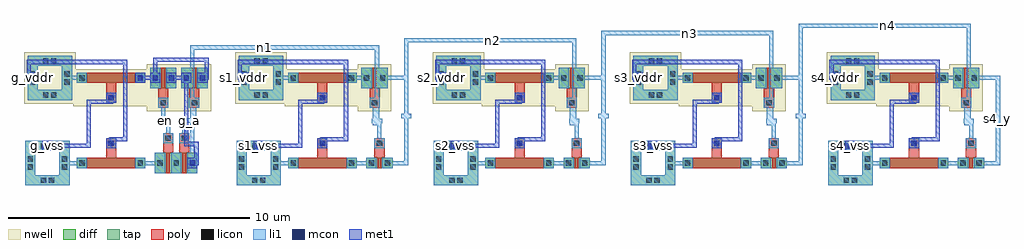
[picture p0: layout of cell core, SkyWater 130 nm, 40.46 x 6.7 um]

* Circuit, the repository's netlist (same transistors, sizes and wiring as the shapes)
* extracted by klt extract --deck sky130

* cell core
* pin a,g_a,mnab_y,mpa_y,mpb_y,n1,n2,n3,n4,s4_y,y
* pin en
* pin g_vddr,mnt_g,vddr
* pin g_vss,mph_g,s1_vss,s2_vss,s3_vss,s4_vss,vss
* pin mnt_g,s1_vddr,vddr
* pin mnt_g,s2_vddr,vddr
* pin mnt_g,s3_vddr,vddr
* pin mnt_g,s4_vddr,vddr
* pin mpa_py,mpb_py,mph_py,py
* pin ny
* pin ny
* pin ny
* pin ny
* pin ny
* pin py
* pin py
* pin py
* pin py
.SUBCKT core a|g_a|mnab_y|mpa_y|mpb_y|n1|n2|n3|n4|s4_y|y en g_vddr|mnt_g|vddr
+ g_vss|mph_g|s1_vss|s2_vss|s3_vss|s4_vss|vss mnt_g|s1_vddr|vddr
+ mnt_g|s2_vddr|vddr mnt_g|s3_vddr|vddr mnt_g|s4_vddr|vddr
+ mpa_py|mpb_py|mph_py|py ny ny$1 ny$2 ny$3 ny$4 py py$1 py$2 py$3
* device instance $1 r0 *1 1.42,0.21 nfet
M$1 ny g_vddr|mnt_g|vddr g_vss|mph_g|s1_vss|s2_vss|s3_vss|s4_vss|vss
+ g_vss|mph_g|s1_vss|s2_vss|s3_vss|s4_vss|vss nfet L=2U W=0.42U AS=0.1764P
+ AD=0.1764P PS=1.68U PD=1.68U
* device instance $2 r0 *1 10.18,0.21 nfet
M$2 ny$1 mnt_g|s1_vddr|vddr g_vss|mph_g|s1_vss|s2_vss|s3_vss|s4_vss|vss
+ g_vss|mph_g|s1_vss|s2_vss|s3_vss|s4_vss|vss nfet L=2U W=0.42U AS=0.1764P
+ AD=0.1764P PS=1.68U PD=1.68U
* device instance $3 r0 *1 12.545,0.21 nfet
M$3 a|g_a|mnab_y|mpa_y|mpb_y|n1|n2|n3|n4|s4_y|y
+ a|g_a|mnab_y|mpa_y|mpb_y|n1|n2|n3|n4|s4_y|y ny$1
+ g_vss|mph_g|s1_vss|s2_vss|s3_vss|s4_vss|vss nfet L=0.15U W=0.42U AS=0.1974P
+ AD=0.1974P PS=1.78U PD=1.78U
* device instance $4 r0 *1 18.355,0.21 nfet
M$4 ny$2 mnt_g|s2_vddr|vddr g_vss|mph_g|s1_vss|s2_vss|s3_vss|s4_vss|vss
+ g_vss|mph_g|s1_vss|s2_vss|s3_vss|s4_vss|vss nfet L=2U W=0.42U AS=0.1764P
+ AD=0.1764P PS=1.68U PD=1.68U
* device instance $5 r0 *1 20.72,0.21 nfet
M$5 a|g_a|mnab_y|mpa_y|mpb_y|n1|n2|n3|n4|s4_y|y
+ a|g_a|mnab_y|mpa_y|mpb_y|n1|n2|n3|n4|s4_y|y ny$2
+ g_vss|mph_g|s1_vss|s2_vss|s3_vss|s4_vss|vss nfet L=0.15U W=0.42U AS=0.1974P
+ AD=0.1974P PS=1.78U PD=1.78U
* device instance $6 r0 *1 26.53,0.21 nfet
M$6 ny$3 mnt_g|s3_vddr|vddr g_vss|mph_g|s1_vss|s2_vss|s3_vss|s4_vss|vss
+ g_vss|mph_g|s1_vss|s2_vss|s3_vss|s4_vss|vss nfet L=2U W=0.42U AS=0.1764P
+ AD=0.1764P PS=1.68U PD=1.68U
* device instance $7 r0 *1 28.895,0.21 nfet
M$7 a|g_a|mnab_y|mpa_y|mpb_y|n1|n2|n3|n4|s4_y|y
+ a|g_a|mnab_y|mpa_y|mpb_y|n1|n2|n3|n4|s4_y|y ny$3
+ g_vss|mph_g|s1_vss|s2_vss|s3_vss|s4_vss|vss nfet L=0.15U W=0.42U AS=0.1974P
+ AD=0.1974P PS=1.78U PD=1.78U
* device instance $8 r0 *1 34.705,0.21 nfet
M$8 ny$4 mnt_g|s4_vddr|vddr g_vss|mph_g|s1_vss|s2_vss|s3_vss|s4_vss|vss
+ g_vss|mph_g|s1_vss|s2_vss|s3_vss|s4_vss|vss nfet L=2U W=0.42U AS=0.1764P
+ AD=0.1764P PS=1.68U PD=1.68U
* device instance $9 r0 *1 37.07,0.21 nfet
M$9 a|g_a|mnab_y|mpa_y|mpb_y|n1|n2|n3|n4|s4_y|y
+ a|g_a|mnab_y|mpa_y|mpb_y|n1|n2|n3|n4|s4_y|y ny$4
+ g_vss|mph_g|s1_vss|s2_vss|s3_vss|s4_vss|vss nfet L=0.15U W=0.42U AS=0.1974P
+ AD=0.1974P PS=1.78U PD=1.78U
* device instance $10 r0 *1 3.785,0.21 nfet
M$10 \$4 en ny g_vss|mph_g|s1_vss|s2_vss|s3_vss|s4_vss|vss nfet L=0.15U W=0.84U
+ AS=0.3948P AD=0.2184P PS=2.62U PD=1.36U
* device instance $11 r0 *1 4.455,0.21 nfet
M$11 a|g_a|mnab_y|mpa_y|mpb_y|n1|n2|n3|n4|s4_y|y
+ a|g_a|mnab_y|mpa_y|mpb_y|n1|n2|n3|n4|s4_y|y \$4
+ g_vss|mph_g|s1_vss|s2_vss|s3_vss|s4_vss|vss nfet L=0.15U W=0.84U AS=0.2184P
+ AD=0.3948P PS=1.36U PD=2.62U
* device instance $12 r0 *1 1.42,3.74 pfet
M$12 mpa_py|mpb_py|mph_py|py g_vss|mph_g|s1_vss|s2_vss|s3_vss|s4_vss|vss
+ g_vddr|mnt_g|vddr g_vddr|mnt_g|vddr pfet L=2U W=0.42U AS=0.1764P AD=0.1764P
+ PS=1.68U PD=1.68U
* device instance $13 r0 *1 10.18,3.74 pfet
M$13 py g_vss|mph_g|s1_vss|s2_vss|s3_vss|s4_vss|vss mnt_g|s1_vddr|vddr
+ mnt_g|s1_vddr|vddr pfet L=2U W=0.42U AS=0.1764P AD=0.1764P PS=1.68U PD=1.68U
* device instance $14 r0 *1 18.355,3.74 pfet
M$14 py$1 g_vss|mph_g|s1_vss|s2_vss|s3_vss|s4_vss|vss mnt_g|s2_vddr|vddr
+ mnt_g|s2_vddr|vddr pfet L=2U W=0.42U AS=0.1764P AD=0.1764P PS=1.68U PD=1.68U
* device instance $15 r0 *1 26.53,3.74 pfet
M$15 py$2 g_vss|mph_g|s1_vss|s2_vss|s3_vss|s4_vss|vss mnt_g|s3_vddr|vddr
+ mnt_g|s3_vddr|vddr pfet L=2U W=0.42U AS=0.1764P AD=0.1764P PS=1.68U PD=1.68U
* device instance $16 r0 *1 34.705,3.74 pfet
M$16 py$3 g_vss|mph_g|s1_vss|s2_vss|s3_vss|s4_vss|vss mnt_g|s4_vddr|vddr
+ mnt_g|s4_vddr|vddr pfet L=2U W=0.42U AS=0.1764P AD=0.1764P PS=1.68U PD=1.68U
* device instance $17 r0 *1 3.585,3.74 pfet
M$17 a|g_a|mnab_y|mpa_y|mpb_y|n1|n2|n3|n4|s4_y|y en mpa_py|mpb_py|mph_py|py
+ g_vddr|mnt_g|vddr pfet L=0.15U W=0.84U AS=0.3948P AD=0.3948P PS=2.62U PD=2.62U
* device instance $18 r0 *1 4.875,3.74 pfet
M$18 mpa_py|mpb_py|mph_py|py a|g_a|mnab_y|mpa_y|mpb_y|n1|n2|n3|n4|s4_y|y
+ a|g_a|mnab_y|mpa_y|mpb_y|n1|n2|n3|n4|s4_y|y g_vddr|mnt_g|vddr pfet L=0.15U
+ W=0.84U AS=0.3948P AD=0.3948P PS=2.62U PD=2.62U
* device instance $19 r0 *1 12.345,3.74 pfet
M$19 a|g_a|mnab_y|mpa_y|mpb_y|n1|n2|n3|n4|s4_y|y
+ a|g_a|mnab_y|mpa_y|mpb_y|n1|n2|n3|n4|s4_y|y py mnt_g|s1_vddr|vddr pfet
+ L=0.15U W=0.84U AS=0.3948P AD=0.3948P PS=2.62U PD=2.62U
* device instance $20 r0 *1 20.52,3.74 pfet
M$20 a|g_a|mnab_y|mpa_y|mpb_y|n1|n2|n3|n4|s4_y|y
+ a|g_a|mnab_y|mpa_y|mpb_y|n1|n2|n3|n4|s4_y|y py$1 mnt_g|s2_vddr|vddr pfet
+ L=0.15U W=0.84U AS=0.3948P AD=0.3948P PS=2.62U PD=2.62U
* device instance $21 r0 *1 28.695,3.74 pfet
M$21 a|g_a|mnab_y|mpa_y|mpb_y|n1|n2|n3|n4|s4_y|y
+ a|g_a|mnab_y|mpa_y|mpb_y|n1|n2|n3|n4|s4_y|y py$2 mnt_g|s3_vddr|vddr pfet
+ L=0.15U W=0.84U AS=0.3948P AD=0.3948P PS=2.62U PD=2.62U
* device instance $22 r0 *1 36.87,3.74 pfet
M$22 a|g_a|mnab_y|mpa_y|mpb_y|n1|n2|n3|n4|s4_y|y
+ a|g_a|mnab_y|mpa_y|mpb_y|n1|n2|n3|n4|s4_y|y py$3 mnt_g|s4_vddr|vddr pfet
+ L=0.15U W=0.84U AS=0.3948P AD=0.3948P PS=2.62U PD=2.62U
.ENDS core

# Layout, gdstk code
from math import pi, radians
import gdstk
lib = gdstk.Library(unit=1e-6, precision=1e-09)
def R(c, l, rs):  # rectangles x0, y0, x1, y1
    for r in rs: c.add(gdstk.rectangle(r[:2], r[2:], *l))
def A(c, l, x, y, w, h, nx, ny, dx, dy):  # array of equal rectangles
    R(c, l, [(x+i*dx, y+j*dy, x+i*dx+w, y+j*dy+h) for i in range(nx) for j in range(ny)])
def P(c, l, *ps):  # polygons
    for p in ps: c.add(gdstk.Polygon(p, *l))
nwell = (64, 20)
diff = (65, 20)
tap = (65, 44)
poly = (66, 20)
licon = (66, 44)
li1 = (67, 20)
mcon = (67, 44)
met1 = (68, 20)

mos_array = lib.new_cell('mos_array')
R(mos_array, nwell, [(-0.15,-0.15,2.99,1.39)])
R(mos_array, diff, [(0,0,2.84,0.42)])
R(mos_array, poly, [(0.42,0,2.42,0.42), (1.21,0.42,1.63,1.24)])
R(mos_array, licon, [(0.1,0.1,0.32,0.32), (2.52,0.1,2.74,0.32), (1.31,0.92,1.53,1.14)])
R(mos_array, li1, [(0,0,0.42,0.42), (2.42,0,2.84,0.42), (1.21,0.82,1.63,1.24)])

mph__mph = lib.new_cell('mph__mph')
mph__mph.add(gdstk.Reference(mos_array, (0,0)))

mos_array_1 = lib.new_cell('mos_array$1')
R(mos_array_1, nwell, [(-0.15,-0.15,1.24,1.81)])
R(mos_array_1, diff, [(0,0,1.09,0.84)])
R(mos_array_1, poly, [(0.47,0,0.62,0.84), (0.335,0.84,0.755,1.66)])
R(mos_array_1, licon, [(0.1,0.31,0.32,0.53), (0.77,0.31,0.99,0.53), (0.435,1.34,0.655,1.56)])
R(mos_array_1, li1, [(0,0,0.42,0.84), (0.67,0,1.09,0.84), (0.335,1.24,0.755,1.66)])

mpa__mpa = lib.new_cell('mpa__mpa')
mpa__mpa.add(gdstk.Reference(mos_array_1, (0,0)))

mos_array_2 = lib.new_cell('mos_array$2')
R(mos_array_2, nwell, [(-0.15,-0.15,1.24,1.81)])
R(mos_array_2, diff, [(0,0,1.09,0.84)])
R(mos_array_2, poly, [(0.47,0,0.62,0.84), (0.335,0.84,0.755,1.66)])
R(mos_array_2, licon, [(0.1,0.31,0.32,0.53), (0.77,0.31,0.99,0.53), (0.435,1.34,0.655,1.56)])
R(mos_array_2, li1, [(0,0,0.42,0.84), (0.67,0,1.09,0.84), (0.335,1.24,0.755,1.66)])

mpb__mpb = lib.new_cell('mpb__mpb')
mpb__mpb.add(gdstk.Reference(mos_array_2, (0,0)))

mos_array_3 = lib.new_cell('mos_array$3')
R(mos_array_3, diff, [(0,0,2.84,0.42)])
R(mos_array_3, poly, [(0.42,0,2.42,0.42), (1.21,0.42,1.63,1.24)])
R(mos_array_3, licon, [(0.1,0.1,0.32,0.32), (2.52,0.1,2.74,0.32), (1.31,0.92,1.53,1.14)])
R(mos_array_3, li1, [(0,0,0.42,0.42), (2.42,0,2.84,0.42), (1.21,0.82,1.63,1.24)])

mnt__mnt = lib.new_cell('mnt__mnt')
mnt__mnt.add(gdstk.Reference(mos_array_3, (0,0)))

mos_array_4 = lib.new_cell('mos_array$4')
R(mos_array_4, diff, [(0,0,1.76,0.84)])
R(mos_array_4, poly, [(0.47,0,0.62,0.84), (1.14,0,1.29,0.84), (0.335,0.84,0.755,1.66), (1.005,0.84,1.425,1.66)])
A(mos_array_4, licon, 0.1, 0.31, 0.22, 0.22, 3, 1, 0.67, 0)
R(mos_array_4, licon, [(0.435,1.34,0.655,1.56), (1.105,1.34,1.325,1.56)])
A(mos_array_4, li1, 0, 0, 0.42, 0.84, 3, 1, 0.67, 0)
R(mos_array_4, li1, [(0.335,1.24,0.755,1.66), (1.005,1.24,1.425,1.66)])

mnab__mnab = lib.new_cell('mnab__mnab')
mnab__mnab.add(gdstk.Reference(mos_array_4, (0,0)))

guard_ring = lib.new_cell('guard_ring')
R(guard_ring, nwell, [(-0.15,-0.15,1.99,1.99)])
P(guard_ring, tap, [(0,0),(0,1.42),(0.42,1.42),(0.42,0.42),(1.42,0.42),(1.42,1.42),(0,1.42),(0,1.84),(1.84,1.84),(1.84,0)])
R(guard_ring, licon, [(0.643,0.1,0.863,0.32), (0.977,0.1,1.197,0.32), (0.1,0.643,0.32,0.863), (1.52,0.643,1.74,0.863), (0.1,0.977,0.32,1.197), (1.52,0.977,1.74,1.197), (0.643,1.52,0.863,1.74), (0.977,1.52,1.197,1.74)])
P(guard_ring, li1, [(0,0),(0,1.42),(0.42,1.42),(0.42,0.42),(1.42,0.42),(1.42,1.42),(0,1.42),(0,1.84),(1.84,1.84),(1.84,0)])

nwell_tap__nwell_tap = lib.new_cell('nwell_tap__nwell_tap')
nwell_tap__nwell_tap.add(gdstk.Reference(guard_ring, (0,0)))

guard_ring_1 = lib.new_cell('guard_ring$1')
P(guard_ring_1, tap, [(0,0),(0,1.42),(0.42,1.42),(0.42,0.42),(1.42,0.42),(1.42,1.42),(0,1.42),(0,1.84),(1.84,1.84),(1.84,0)])
R(guard_ring_1, licon, [(0.643,0.1,0.863,0.32), (0.977,0.1,1.197,0.32), (0.1,0.643,0.32,0.863), (1.52,0.643,1.74,0.863), (0.1,0.977,0.32,1.197), (1.52,0.977,1.74,1.197), (0.643,1.52,0.863,1.74), (0.977,1.52,1.197,1.74)])
P(guard_ring_1, li1, [(0,0),(0,1.42),(0.42,1.42),(0.42,0.42),(1.42,0.42),(1.42,1.42),(0,1.42),(0,1.84),(1.84,1.84),(1.84,0)])

psub_tap__psub_tap = lib.new_cell('psub_tap__psub_tap')
psub_tap__psub_tap.add(gdstk.Reference(guard_ring_1, (0,0)))

core__core = lib.new_cell('core__core')
R(core__core, li1, [(3.575,1.24,3.995,1.41), (4.245,1.24,4.665,1.41), (3.375,2.54,3.795,2.71), (4.665,2.54,5.085,2.71)])
core__core.add(gdstk.FlexPath([(0.21,3.74),(-0.41,3.74)], 0.17, ends="flush", simple_path=True, layer=67, datatype=20))  # li1
core__core.add(gdstk.FlexPath([(0.21,0.21),(-0.51,0.21)], 0.17, ends="flush", simple_path=True, layer=67, datatype=20))  # li1
core__core.add(gdstk.FlexPath([(2.63,0.21),(3.45,0.21)], 0.17, ends="flush", simple_path=True, layer=67, datatype=20))  # li1
core__core.add(gdstk.FlexPath([(3.585,2.71),(3.585,1.975),(3.785,1.975),(3.785,1.24)], 0.17, ends="flush", simple_path=True, layer=67, datatype=20))  # li1
core__core.add(gdstk.FlexPath([(4.875,2.71),(4.875,1.975),(4.455,1.975),(4.455,1.24)], 0.17, ends="flush", simple_path=True, layer=67, datatype=20))  # li1
core__core.add(gdstk.Reference(mph__mph, (0,3.95), x_reflection=True))
core__core.add(gdstk.Reference(mpa__mpa, (3.04,4.16), x_reflection=True))
core__core.add(gdstk.Reference(mpb__mpb, (5.42,4.16), rotation=pi))
core__core.add(gdstk.Reference(mnt__mnt, (0,0)))
core__core.add(gdstk.Reference(mnab__mnab, (3.24,-0.21)))
core__core.add(gdstk.Reference(nwell_tap__nwell_tap, (-2.04,2.82)))
core__core.add(gdstk.Reference(psub_tap__psub_tap, (-2.14,-0.71)))
core__core.add(gdstk.Label('vddr', (-0.1,3.74), layer=67, texttype=5))
core__core.add(gdstk.Label('vss', (-0.15,0.21), layer=67, texttype=5))
core__core.add(gdstk.Label('ny', (3.04,0.21), layer=67, texttype=5))
core__core.add(gdstk.Label('en', (3.685,1.975), layer=67, texttype=5))
core__core.add(gdstk.Label('a', (4.665,1.975), layer=67, texttype=5))
core__core.add(gdstk.Label('vddr', (-1.83,3.74), layer=67, texttype=5))
core__core.add(gdstk.Label('vss', (-1.22,0.92), layer=67, texttype=5))
core__core.add(gdstk.Label('mph_py', (2.63,3.74), layer=67, texttype=5))
core__core.add(gdstk.Label('mpa_py', (3.25,3.74), layer=67, texttype=5))
core__core.add(gdstk.Label('mpb_py', (5.21,3.74), layer=67, texttype=5))
core__core.add(gdstk.Label('mpa_y', (3.92,3.74), layer=67, texttype=5))
core__core.add(gdstk.Label('mpb_y', (4.54,3.74), layer=67, texttype=5))
core__core.add(gdstk.Label('mnab_y', (4.79,0.21), layer=67, texttype=5))
core__core.add(gdstk.Label('mph_g', (1.42,2.92), layer=67, texttype=5))
core__core.add(gdstk.Label('mnt_g', (1.42,1.03), layer=67, texttype=5))

g__ro_nand2 = lib.new_cell('g__ro_nand2')
R(g__ro_nand2, li1, [(4.58,0,5,0.42), (-1.43,0.71,-1.01,1.13), (1.21,0.82,1.63,1.24), (1.21,2.71,1.63,3.13), (-2.04,3.53,-1.62,3.95), (2.42,3.53,2.84,3.95), (3.04,3.53,3.46,3.95), (3.04,3.53,3.46,3.95), (3.71,3.53,4.13,3.95), (4.33,3.53,4.75,3.95), (4.33,3.53,4.75,3.95), (5,3.53,5.42,3.95)])
R(g__ro_nand2, mcon, [(4.68,0.1,4.9,0.32), (-1.33,0.81,-1.11,1.03), (1.31,0.92,1.53,1.14), (1.31,2.81,1.53,3.03), (-1.94,3.63,-1.72,3.85), (2.52,3.63,2.74,3.85), (3.14,3.63,3.36,3.85), (3.14,3.63,3.36,3.85), (3.81,3.63,4.03,3.85), (4.43,3.63,4.65,3.85), (4.43,3.63,4.65,3.85), (5.1,3.63,5.32,3.85)])
R(g__ro_nand2, met1, [(4.58,0,5,0.42), (-1.43,0.71,-1.01,1.13), (1.21,0.82,1.63,1.24), (1.21,2.71,1.63,3.13), (-2.04,3.53,-1.62,3.95), (2.42,3.53,2.84,3.95), (3.04,3.53,3.46,3.95), (3.04,3.53,3.46,3.95), (3.71,3.53,4.13,3.95), (4.33,3.53,4.75,3.95), (4.33,3.53,4.75,3.95), (5,3.53,5.42,3.95)])
g__ro_nand2.add(gdstk.FlexPath([(2.63,3.74),(3.25,3.74)], 0.17, ends="flush", simple_path=True, layer=68, datatype=20))  # met1
g__ro_nand2.add(gdstk.FlexPath([(3.25,3.74),(3.25,4.5),(5.38,4.5),(5.38,3.74),(5.21,3.74)], 0.17, ends="flush", simple_path=True, layer=68, datatype=20))  # met1
g__ro_nand2.add(gdstk.FlexPath([(3.92,3.74),(4.54,3.74)], 0.17, ends="flush", simple_path=True, layer=68, datatype=20))  # met1
g__ro_nand2.add(gdstk.FlexPath([(4.54,3.74),(4.54,1),(4.96,1),(4.96,0.21),(4.79,0.21)], 0.17, ends="flush", simple_path=True, layer=68, datatype=20))  # met1
g__ro_nand2.add(gdstk.FlexPath([(1.42,2.92),(1.42,2.75),(0.5,2.75),(0.5,0.92),(-1.22,0.92),(-1.22,0.92)], 0.17, ends="flush", simple_path=True, layer=68, datatype=20))  # met1
g__ro_nand2.add(gdstk.FlexPath([(1.42,1.03),(1.42,1.2),(2,1.2),(2,4.4),(-2,4.4),(-2,3.74),(-1.83,3.74)], 0.17, ends="flush", simple_path=True, layer=68, datatype=20))  # met1
g__ro_nand2.add(gdstk.Reference(core__core, (0,0)))
g__ro_nand2.add(gdstk.Label('py', (2.94,3.74), layer=68, texttype=5))
g__ro_nand2.add(gdstk.Label('py', (4.4,4.5), layer=68, texttype=5))
g__ro_nand2.add(gdstk.Label('y', (4.23,3.74), layer=68, texttype=5))
g__ro_nand2.add(gdstk.Label('y', (4.54,1.68), layer=68, texttype=5))
g__ro_nand2.add(gdstk.Label('vss', (0.5,1.52), layer=68, texttype=5))
g__ro_nand2.add(gdstk.Label('vddr', (1.56,4.4), layer=68, texttype=5))

mos_array_5 = lib.new_cell('mos_array$5')
R(mos_array_5, diff, [(0,0,2.84,0.42)])
R(mos_array_5, poly, [(0.42,0,2.42,0.42), (1.21,0.42,1.63,1.24)])
R(mos_array_5, licon, [(0.1,0.1,0.32,0.32), (2.52,0.1,2.74,0.32), (1.31,0.92,1.53,1.14)])
R(mos_array_5, li1, [(0,0,0.42,0.42), (2.42,0,2.84,0.42), (1.21,0.82,1.63,1.24)])

mnt__mnt_1 = lib.new_cell('mnt__mnt$1')
mnt__mnt_1.add(gdstk.Reference(mos_array_5, (0,0)))

guard_ring_2 = lib.new_cell('guard_ring$2')
P(guard_ring_2, tap, [(0,0),(0,1.42),(0.42,1.42),(0.42,0.42),(1.42,0.42),(1.42,1.42),(0,1.42),(0,1.84),(1.84,1.84),(1.84,0)])
R(guard_ring_2, licon, [(0.643,0.1,0.863,0.32), (0.977,0.1,1.197,0.32), (0.1,0.643,0.32,0.863), (1.52,0.643,1.74,0.863), (0.1,0.977,0.32,1.197), (1.52,0.977,1.74,1.197), (0.643,1.52,0.863,1.74), (0.977,1.52,1.197,1.74)])
P(guard_ring_2, li1, [(0,0),(0,1.42),(0.42,1.42),(0.42,0.42),(1.42,0.42),(1.42,1.42),(0,1.42),(0,1.84),(1.84,1.84),(1.84,0)])

psub_tap__psub_tap_1 = lib.new_cell('psub_tap__psub_tap$1')
psub_tap__psub_tap_1.add(gdstk.Reference(guard_ring_2, (0,0)))

mos_array_1_1 = lib.new_cell('mos_array$1$1')
R(mos_array_1_1, diff, [(0,0,1.09,0.42)])
R(mos_array_1_1, poly, [(0.47,0,0.62,0.42), (0.335,0.42,0.755,1.24)])
R(mos_array_1_1, licon, [(0.1,0.1,0.32,0.32), (0.77,0.1,0.99,0.32), (0.435,0.92,0.655,1.14)])
R(mos_array_1_1, li1, [(0,0,0.42,0.42), (0.67,0,1.09,0.42), (0.335,0.82,0.755,1.24)])

mn__mn = lib.new_cell('mn__mn')
mn__mn.add(gdstk.Reference(mos_array_1_1, (0,0)))

mos_array_2_1 = lib.new_cell('mos_array$2$1')
R(mos_array_2_1, nwell, [(-0.15,-0.15,2.99,1.39)])
R(mos_array_2_1, diff, [(0,0,2.84,0.42)])
R(mos_array_2_1, poly, [(0.42,0,2.42,0.42), (1.21,0.42,1.63,1.24)])
R(mos_array_2_1, licon, [(0.1,0.1,0.32,0.32), (2.52,0.1,2.74,0.32), (1.31,0.92,1.53,1.14)])
R(mos_array_2_1, li1, [(0,0,0.42,0.42), (2.42,0,2.84,0.42), (1.21,0.82,1.63,1.24)])

mph__mph_1 = lib.new_cell('mph__mph$1')
mph__mph_1.add(gdstk.Reference(mos_array_2_1, (0,0)))

guard_ring_1_1 = lib.new_cell('guard_ring$1$1')
R(guard_ring_1_1, nwell, [(-0.15,-0.15,1.99,1.99)])
P(guard_ring_1_1, tap, [(0,0),(0,1.42),(0.42,1.42),(0.42,0.42),(1.42,0.42),(1.42,1.42),(0,1.42),(0,1.84),(1.84,1.84),(1.84,0)])
R(guard_ring_1_1, licon, [(0.643,0.1,0.863,0.32), (0.977,0.1,1.197,0.32), (0.1,0.643,0.32,0.863), (1.52,0.643,1.74,0.863), (0.1,0.977,0.32,1.197), (1.52,0.977,1.74,1.197), (0.643,1.52,0.863,1.74), (0.977,1.52,1.197,1.74)])
P(guard_ring_1_1, li1, [(0,0),(0,1.42),(0.42,1.42),(0.42,0.42),(1.42,0.42),(1.42,1.42),(0,1.42),(0,1.84),(1.84,1.84),(1.84,0)])

nwell_tap__nwell_tap_1 = lib.new_cell('nwell_tap__nwell_tap$1')
nwell_tap__nwell_tap_1.add(gdstk.Reference(guard_ring_1_1, (0,0)))

mos_array_3_1 = lib.new_cell('mos_array$3$1')
R(mos_array_3_1, nwell, [(-0.15,-0.15,1.24,1.81)])
R(mos_array_3_1, diff, [(0,0,1.09,0.84)])
R(mos_array_3_1, poly, [(0.47,0,0.62,0.84), (0.335,0.84,0.755,1.66)])
R(mos_array_3_1, licon, [(0.1,0.31,0.32,0.53), (0.77,0.31,0.99,0.53), (0.435,1.34,0.655,1.56)])
R(mos_array_3_1, li1, [(0,0,0.42,0.84), (0.67,0,1.09,0.84), (0.335,1.24,0.755,1.66)])

mp__mp = lib.new_cell('mp__mp')
mp__mp.add(gdstk.Reference(mos_array_3_1, (0,0)))

core__core_1 = lib.new_cell('core__core$1')
R(core__core_1, li1, [(3.575,1.03,3.995,1.2), (3.375,2.54,3.795,2.71)])
core__core_1.add(gdstk.FlexPath([(3.585,2.71),(3.585,1.87),(3.785,1.87),(3.785,1.03)], 0.17, ends="flush", simple_path=True, layer=67, datatype=20))  # li1
core__core_1.add(gdstk.FlexPath([(3.92,3.74),(4.9,3.74),(4.9,0.21),(4.12,0.21)], 0.17, ends="flush", simple_path=True, layer=67, datatype=20))  # li1
core__core_1.add(gdstk.FlexPath([(2.63,3.74),(3.25,3.74)], 0.17, ends="flush", simple_path=True, layer=67, datatype=20))  # li1
core__core_1.add(gdstk.FlexPath([(2.63,0.21),(3.45,0.21)], 0.17, ends="flush", simple_path=True, layer=67, datatype=20))  # li1
core__core_1.add(gdstk.FlexPath([(0.21,3.74),(-0.41,3.74)], 0.17, ends="flush", simple_path=True, layer=67, datatype=20))  # li1
core__core_1.add(gdstk.FlexPath([(0.21,0.21),(-0.51,0.21)], 0.17, ends="flush", simple_path=True, layer=67, datatype=20))  # li1
core__core_1.add(gdstk.Reference(mnt__mnt_1, (0,0)))
core__core_1.add(gdstk.Reference(psub_tap__psub_tap_1, (-2.14,-0.71)))
core__core_1.add(gdstk.Reference(mn__mn, (3.24,0)))
core__core_1.add(gdstk.Reference(mph__mph_1, (0,3.95), x_reflection=True))
core__core_1.add(gdstk.Reference(nwell_tap__nwell_tap_1, (-2.04,2.82)))
core__core_1.add(gdstk.Reference(mp__mp, (3.04,4.16), x_reflection=True))
core__core_1.add(gdstk.Label('a', (3.685,1.87), layer=67, texttype=5))
core__core_1.add(gdstk.Label('y', (4.9,2.075), layer=67, texttype=5))
core__core_1.add(gdstk.Label('py', (2.94,3.74), layer=67, texttype=5))
core__core_1.add(gdstk.Label('ny', (3.04,0.21), layer=67, texttype=5))
core__core_1.add(gdstk.Label('vddr', (-0.1,3.74), layer=67, texttype=5))
core__core_1.add(gdstk.Label('vss', (-0.15,0.21), layer=67, texttype=5))
core__core_1.add(gdstk.Label('vddr', (-1.83,3.74), layer=67, texttype=5))
core__core_1.add(gdstk.Label('vss', (-1.22,0.92), layer=67, texttype=5))
core__core_1.add(gdstk.Label('mph_g', (1.42,2.92), layer=67, texttype=5))
core__core_1.add(gdstk.Label('mnt_g', (1.42,1.03), layer=67, texttype=5))

s1__ro_stage = lib.new_cell('s1__ro_stage')
R(s1__ro_stage, li1, [(-1.43,0.71,-1.01,1.13), (1.21,0.82,1.63,1.24), (1.21,2.71,1.63,3.13), (-2.04,3.53,-1.62,3.95)])
R(s1__ro_stage, mcon, [(-1.33,0.81,-1.11,1.03), (1.31,0.92,1.53,1.14), (1.31,2.81,1.53,3.03), (-1.94,3.63,-1.72,3.85)])
R(s1__ro_stage, met1, [(-1.43,0.71,-1.01,1.13), (1.21,0.82,1.63,1.24), (1.21,2.71,1.63,3.13), (-2.04,3.53,-1.62,3.95)])
s1__ro_stage.add(gdstk.FlexPath([(1.42,2.92),(1.42,2.75),(0.5,2.75),(0.5,0.92),(-1.22,0.92),(-1.22,0.92)], 0.17, ends="flush", simple_path=True, layer=68, datatype=20))  # met1
s1__ro_stage.add(gdstk.FlexPath([(1.42,1.03),(1.42,1.2),(2.4,1.2),(2.4,4.4),(-2,4.4),(-2,3.74),(-1.83,3.74)], 0.17, ends="flush", simple_path=True, layer=68, datatype=20))  # met1
s1__ro_stage.add(gdstk.Reference(core__core_1, (0,0)))
s1__ro_stage.add(gdstk.Label('vss', (0.5,1.52), layer=68, texttype=5))
s1__ro_stage.add(gdstk.Label('vddr', (1.96,4.4), layer=68, texttype=5))

mos_array_6 = lib.new_cell('mos_array$6')
R(mos_array_6, diff, [(0,0,2.84,0.42)])
R(mos_array_6, poly, [(0.42,0,2.42,0.42), (1.21,0.42,1.63,1.24)])
R(mos_array_6, licon, [(0.1,0.1,0.32,0.32), (2.52,0.1,2.74,0.32), (1.31,0.92,1.53,1.14)])
R(mos_array_6, li1, [(0,0,0.42,0.42), (2.42,0,2.84,0.42), (1.21,0.82,1.63,1.24)])

mnt__mnt_2 = lib.new_cell('mnt__mnt$2')
mnt__mnt_2.add(gdstk.Reference(mos_array_6, (0,0)))

guard_ring_3 = lib.new_cell('guard_ring$3')
P(guard_ring_3, tap, [(0,0),(0,1.42),(0.42,1.42),(0.42,0.42),(1.42,0.42),(1.42,1.42),(0,1.42),(0,1.84),(1.84,1.84),(1.84,0)])
R(guard_ring_3, licon, [(0.643,0.1,0.863,0.32), (0.977,0.1,1.197,0.32), (0.1,0.643,0.32,0.863), (1.52,0.643,1.74,0.863), (0.1,0.977,0.32,1.197), (1.52,0.977,1.74,1.197), (0.643,1.52,0.863,1.74), (0.977,1.52,1.197,1.74)])
P(guard_ring_3, li1, [(0,0),(0,1.42),(0.42,1.42),(0.42,0.42),(1.42,0.42),(1.42,1.42),(0,1.42),(0,1.84),(1.84,1.84),(1.84,0)])

psub_tap__psub_tap_2 = lib.new_cell('psub_tap__psub_tap$2')
psub_tap__psub_tap_2.add(gdstk.Reference(guard_ring_3, (0,0)))

mos_array_1_2 = lib.new_cell('mos_array$1$2')
R(mos_array_1_2, diff, [(0,0,1.09,0.42)])
R(mos_array_1_2, poly, [(0.47,0,0.62,0.42), (0.335,0.42,0.755,1.24)])
R(mos_array_1_2, licon, [(0.1,0.1,0.32,0.32), (0.77,0.1,0.99,0.32), (0.435,0.92,0.655,1.14)])
R(mos_array_1_2, li1, [(0,0,0.42,0.42), (0.67,0,1.09,0.42), (0.335,0.82,0.755,1.24)])

mn__mn_1 = lib.new_cell('mn__mn$1')
mn__mn_1.add(gdstk.Reference(mos_array_1_2, (0,0)))

mos_array_2_2 = lib.new_cell('mos_array$2$2')
R(mos_array_2_2, nwell, [(-0.15,-0.15,2.99,1.39)])
R(mos_array_2_2, diff, [(0,0,2.84,0.42)])
R(mos_array_2_2, poly, [(0.42,0,2.42,0.42), (1.21,0.42,1.63,1.24)])
R(mos_array_2_2, licon, [(0.1,0.1,0.32,0.32), (2.52,0.1,2.74,0.32), (1.31,0.92,1.53,1.14)])
R(mos_array_2_2, li1, [(0,0,0.42,0.42), (2.42,0,2.84,0.42), (1.21,0.82,1.63,1.24)])

mph__mph_2 = lib.new_cell('mph__mph$2')
mph__mph_2.add(gdstk.Reference(mos_array_2_2, (0,0)))

guard_ring_1_2 = lib.new_cell('guard_ring$1$2')
R(guard_ring_1_2, nwell, [(-0.15,-0.15,1.99,1.99)])
P(guard_ring_1_2, tap, [(0,0),(0,1.42),(0.42,1.42),(0.42,0.42),(1.42,0.42),(1.42,1.42),(0,1.42),(0,1.84),(1.84,1.84),(1.84,0)])
R(guard_ring_1_2, licon, [(0.643,0.1,0.863,0.32), (0.977,0.1,1.197,0.32), (0.1,0.643,0.32,0.863), (1.52,0.643,1.74,0.863), (0.1,0.977,0.32,1.197), (1.52,0.977,1.74,1.197), (0.643,1.52,0.863,1.74), (0.977,1.52,1.197,1.74)])
P(guard_ring_1_2, li1, [(0,0),(0,1.42),(0.42,1.42),(0.42,0.42),(1.42,0.42),(1.42,1.42),(0,1.42),(0,1.84),(1.84,1.84),(1.84,0)])

nwell_tap__nwell_tap_2 = lib.new_cell('nwell_tap__nwell_tap$2')
nwell_tap__nwell_tap_2.add(gdstk.Reference(guard_ring_1_2, (0,0)))

mos_array_3_2 = lib.new_cell('mos_array$3$2')
R(mos_array_3_2, nwell, [(-0.15,-0.15,1.24,1.81)])
R(mos_array_3_2, diff, [(0,0,1.09,0.84)])
R(mos_array_3_2, poly, [(0.47,0,0.62,0.84), (0.335,0.84,0.755,1.66)])
R(mos_array_3_2, licon, [(0.1,0.31,0.32,0.53), (0.77,0.31,0.99,0.53), (0.435,1.34,0.655,1.56)])
R(mos_array_3_2, li1, [(0,0,0.42,0.84), (0.67,0,1.09,0.84), (0.335,1.24,0.755,1.66)])

mp__mp_1 = lib.new_cell('mp__mp$1')
mp__mp_1.add(gdstk.Reference(mos_array_3_2, (0,0)))

core__core_2 = lib.new_cell('core__core$2')
R(core__core_2, li1, [(3.575,1.03,3.995,1.2), (3.375,2.54,3.795,2.71)])
core__core_2.add(gdstk.FlexPath([(3.585,2.71),(3.585,1.87),(3.785,1.87),(3.785,1.03)], 0.17, ends="flush", simple_path=True, layer=67, datatype=20))  # li1
core__core_2.add(gdstk.FlexPath([(3.92,3.74),(4.9,3.74),(4.9,0.21),(4.12,0.21)], 0.17, ends="flush", simple_path=True, layer=67, datatype=20))  # li1
core__core_2.add(gdstk.FlexPath([(2.63,3.74),(3.25,3.74)], 0.17, ends="flush", simple_path=True, layer=67, datatype=20))  # li1
core__core_2.add(gdstk.FlexPath([(2.63,0.21),(3.45,0.21)], 0.17, ends="flush", simple_path=True, layer=67, datatype=20))  # li1
core__core_2.add(gdstk.FlexPath([(0.21,3.74),(-0.41,3.74)], 0.17, ends="flush", simple_path=True, layer=67, datatype=20))  # li1
core__core_2.add(gdstk.FlexPath([(0.21,0.21),(-0.51,0.21)], 0.17, ends="flush", simple_path=True, layer=67, datatype=20))  # li1
core__core_2.add(gdstk.Reference(mnt__mnt_2, (0,0)))
core__core_2.add(gdstk.Reference(psub_tap__psub_tap_2, (-2.14,-0.71)))
core__core_2.add(gdstk.Reference(mn__mn_1, (3.24,0)))
core__core_2.add(gdstk.Reference(mph__mph_2, (0,3.95), x_reflection=True))
core__core_2.add(gdstk.Reference(nwell_tap__nwell_tap_2, (-2.04,2.82)))
core__core_2.add(gdstk.Reference(mp__mp_1, (3.04,4.16), x_reflection=True))
core__core_2.add(gdstk.Label('a', (3.685,1.87), layer=67, texttype=5))
core__core_2.add(gdstk.Label('y', (4.9,2.075), layer=67, texttype=5))
core__core_2.add(gdstk.Label('py', (2.94,3.74), layer=67, texttype=5))
core__core_2.add(gdstk.Label('ny', (3.04,0.21), layer=67, texttype=5))
core__core_2.add(gdstk.Label('vddr', (-0.1,3.74), layer=67, texttype=5))
core__core_2.add(gdstk.Label('vss', (-0.15,0.21), layer=67, texttype=5))
core__core_2.add(gdstk.Label('vddr', (-1.83,3.74), layer=67, texttype=5))
core__core_2.add(gdstk.Label('vss', (-1.22,0.92), layer=67, texttype=5))
core__core_2.add(gdstk.Label('mph_g', (1.42,2.92), layer=67, texttype=5))
core__core_2.add(gdstk.Label('mnt_g', (1.42,1.03), layer=67, texttype=5))

s2__ro_stage = lib.new_cell('s2__ro_stage')
R(s2__ro_stage, li1, [(-1.43,0.71,-1.01,1.13), (1.21,0.82,1.63,1.24), (1.21,2.71,1.63,3.13), (-2.04,3.53,-1.62,3.95)])
R(s2__ro_stage, mcon, [(-1.33,0.81,-1.11,1.03), (1.31,0.92,1.53,1.14), (1.31,2.81,1.53,3.03), (-1.94,3.63,-1.72,3.85)])
R(s2__ro_stage, met1, [(-1.43,0.71,-1.01,1.13), (1.21,0.82,1.63,1.24), (1.21,2.71,1.63,3.13), (-2.04,3.53,-1.62,3.95)])
s2__ro_stage.add(gdstk.FlexPath([(1.42,2.92),(1.42,2.75),(0.5,2.75),(0.5,0.92),(-1.22,0.92),(-1.22,0.92)], 0.17, ends="flush", simple_path=True, layer=68, datatype=20))  # met1
s2__ro_stage.add(gdstk.FlexPath([(1.42,1.03),(1.42,1.2),(2.4,1.2),(2.4,4.4),(-2,4.4),(-2,3.74),(-1.83,3.74)], 0.17, ends="flush", simple_path=True, layer=68, datatype=20))  # met1
s2__ro_stage.add(gdstk.Reference(core__core_2, (0,0)))
s2__ro_stage.add(gdstk.Label('vss', (0.5,1.52), layer=68, texttype=5))
s2__ro_stage.add(gdstk.Label('vddr', (1.96,4.4), layer=68, texttype=5))

mos_array_7 = lib.new_cell('mos_array$7')
R(mos_array_7, diff, [(0,0,2.84,0.42)])
R(mos_array_7, poly, [(0.42,0,2.42,0.42), (1.21,0.42,1.63,1.24)])
R(mos_array_7, licon, [(0.1,0.1,0.32,0.32), (2.52,0.1,2.74,0.32), (1.31,0.92,1.53,1.14)])
R(mos_array_7, li1, [(0,0,0.42,0.42), (2.42,0,2.84,0.42), (1.21,0.82,1.63,1.24)])

mnt__mnt_3 = lib.new_cell('mnt__mnt$3')
mnt__mnt_3.add(gdstk.Reference(mos_array_7, (0,0)))

guard_ring_4 = lib.new_cell('guard_ring$4')
P(guard_ring_4, tap, [(0,0),(0,1.42),(0.42,1.42),(0.42,0.42),(1.42,0.42),(1.42,1.42),(0,1.42),(0,1.84),(1.84,1.84),(1.84,0)])
R(guard_ring_4, licon, [(0.643,0.1,0.863,0.32), (0.977,0.1,1.197,0.32), (0.1,0.643,0.32,0.863), (1.52,0.643,1.74,0.863), (0.1,0.977,0.32,1.197), (1.52,0.977,1.74,1.197), (0.643,1.52,0.863,1.74), (0.977,1.52,1.197,1.74)])
P(guard_ring_4, li1, [(0,0),(0,1.42),(0.42,1.42),(0.42,0.42),(1.42,0.42),(1.42,1.42),(0,1.42),(0,1.84),(1.84,1.84),(1.84,0)])

psub_tap__psub_tap_3 = lib.new_cell('psub_tap__psub_tap$3')
psub_tap__psub_tap_3.add(gdstk.Reference(guard_ring_4, (0,0)))

mos_array_1_3 = lib.new_cell('mos_array$1$3')
R(mos_array_1_3, diff, [(0,0,1.09,0.42)])
R(mos_array_1_3, poly, [(0.47,0,0.62,0.42), (0.335,0.42,0.755,1.24)])
R(mos_array_1_3, licon, [(0.1,0.1,0.32,0.32), (0.77,0.1,0.99,0.32), (0.435,0.92,0.655,1.14)])
R(mos_array_1_3, li1, [(0,0,0.42,0.42), (0.67,0,1.09,0.42), (0.335,0.82,0.755,1.24)])

mn__mn_2 = lib.new_cell('mn__mn$2')
mn__mn_2.add(gdstk.Reference(mos_array_1_3, (0,0)))

mos_array_2_3 = lib.new_cell('mos_array$2$3')
R(mos_array_2_3, nwell, [(-0.15,-0.15,2.99,1.39)])
R(mos_array_2_3, diff, [(0,0,2.84,0.42)])
R(mos_array_2_3, poly, [(0.42,0,2.42,0.42), (1.21,0.42,1.63,1.24)])
R(mos_array_2_3, licon, [(0.1,0.1,0.32,0.32), (2.52,0.1,2.74,0.32), (1.31,0.92,1.53,1.14)])
R(mos_array_2_3, li1, [(0,0,0.42,0.42), (2.42,0,2.84,0.42), (1.21,0.82,1.63,1.24)])

mph__mph_3 = lib.new_cell('mph__mph$3')
mph__mph_3.add(gdstk.Reference(mos_array_2_3, (0,0)))

guard_ring_1_3 = lib.new_cell('guard_ring$1$3')
R(guard_ring_1_3, nwell, [(-0.15,-0.15,1.99,1.99)])
P(guard_ring_1_3, tap, [(0,0),(0,1.42),(0.42,1.42),(0.42,0.42),(1.42,0.42),(1.42,1.42),(0,1.42),(0,1.84),(1.84,1.84),(1.84,0)])
R(guard_ring_1_3, licon, [(0.643,0.1,0.863,0.32), (0.977,0.1,1.197,0.32), (0.1,0.643,0.32,0.863), (1.52,0.643,1.74,0.863), (0.1,0.977,0.32,1.197), (1.52,0.977,1.74,1.197), (0.643,1.52,0.863,1.74), (0.977,1.52,1.197,1.74)])
P(guard_ring_1_3, li1, [(0,0),(0,1.42),(0.42,1.42),(0.42,0.42),(1.42,0.42),(1.42,1.42),(0,1.42),(0,1.84),(1.84,1.84),(1.84,0)])

nwell_tap__nwell_tap_3 = lib.new_cell('nwell_tap__nwell_tap$3')
nwell_tap__nwell_tap_3.add(gdstk.Reference(guard_ring_1_3, (0,0)))

mos_array_3_3 = lib.new_cell('mos_array$3$3')
R(mos_array_3_3, nwell, [(-0.15,-0.15,1.24,1.81)])
R(mos_array_3_3, diff, [(0,0,1.09,0.84)])
R(mos_array_3_3, poly, [(0.47,0,0.62,0.84), (0.335,0.84,0.755,1.66)])
R(mos_array_3_3, licon, [(0.1,0.31,0.32,0.53), (0.77,0.31,0.99,0.53), (0.435,1.34,0.655,1.56)])
R(mos_array_3_3, li1, [(0,0,0.42,0.84), (0.67,0,1.09,0.84), (0.335,1.24,0.755,1.66)])

mp__mp_2 = lib.new_cell('mp__mp$2')
mp__mp_2.add(gdstk.Reference(mos_array_3_3, (0,0)))

core__core_3 = lib.new_cell('core__core$3')
R(core__core_3, li1, [(3.575,1.03,3.995,1.2), (3.375,2.54,3.795,2.71)])
core__core_3.add(gdstk.FlexPath([(3.585,2.71),(3.585,1.87),(3.785,1.87),(3.785,1.03)], 0.17, ends="flush", simple_path=True, layer=67, datatype=20))  # li1
core__core_3.add(gdstk.FlexPath([(3.92,3.74),(4.9,3.74),(4.9,0.21),(4.12,0.21)], 0.17, ends="flush", simple_path=True, layer=67, datatype=20))  # li1
core__core_3.add(gdstk.FlexPath([(2.63,3.74),(3.25,3.74)], 0.17, ends="flush", simple_path=True, layer=67, datatype=20))  # li1
core__core_3.add(gdstk.FlexPath([(2.63,0.21),(3.45,0.21)], 0.17, ends="flush", simple_path=True, layer=67, datatype=20))  # li1
core__core_3.add(gdstk.FlexPath([(0.21,3.74),(-0.41,3.74)], 0.17, ends="flush", simple_path=True, layer=67, datatype=20))  # li1
core__core_3.add(gdstk.FlexPath([(0.21,0.21),(-0.51,0.21)], 0.17, ends="flush", simple_path=True, layer=67, datatype=20))  # li1
core__core_3.add(gdstk.Reference(mnt__mnt_3, (0,0)))
core__core_3.add(gdstk.Reference(psub_tap__psub_tap_3, (-2.14,-0.71)))
core__core_3.add(gdstk.Reference(mn__mn_2, (3.24,0)))
core__core_3.add(gdstk.Reference(mph__mph_3, (0,3.95), x_reflection=True))
core__core_3.add(gdstk.Reference(nwell_tap__nwell_tap_3, (-2.04,2.82)))
core__core_3.add(gdstk.Reference(mp__mp_2, (3.04,4.16), x_reflection=True))
core__core_3.add(gdstk.Label('a', (3.685,1.87), layer=67, texttype=5))
core__core_3.add(gdstk.Label('y', (4.9,2.075), layer=67, texttype=5))
core__core_3.add(gdstk.Label('py', (2.94,3.74), layer=67, texttype=5))
core__core_3.add(gdstk.Label('ny', (3.04,0.21), layer=67, texttype=5))
core__core_3.add(gdstk.Label('vddr', (-0.1,3.74), layer=67, texttype=5))
core__core_3.add(gdstk.Label('vss', (-0.15,0.21), layer=67, texttype=5))
core__core_3.add(gdstk.Label('vddr', (-1.83,3.74), layer=67, texttype=5))
core__core_3.add(gdstk.Label('vss', (-1.22,0.92), layer=67, texttype=5))
core__core_3.add(gdstk.Label('mph_g', (1.42,2.92), layer=67, texttype=5))
core__core_3.add(gdstk.Label('mnt_g', (1.42,1.03), layer=67, texttype=5))

s3__ro_stage = lib.new_cell('s3__ro_stage')
R(s3__ro_stage, li1, [(-1.43,0.71,-1.01,1.13), (1.21,0.82,1.63,1.24), (1.21,2.71,1.63,3.13), (-2.04,3.53,-1.62,3.95)])
R(s3__ro_stage, mcon, [(-1.33,0.81,-1.11,1.03), (1.31,0.92,1.53,1.14), (1.31,2.81,1.53,3.03), (-1.94,3.63,-1.72,3.85)])
R(s3__ro_stage, met1, [(-1.43,0.71,-1.01,1.13), (1.21,0.82,1.63,1.24), (1.21,2.71,1.63,3.13), (-2.04,3.53,-1.62,3.95)])
s3__ro_stage.add(gdstk.FlexPath([(1.42,2.92),(1.42,2.75),(0.5,2.75),(0.5,0.92),(-1.22,0.92),(-1.22,0.92)], 0.17, ends="flush", simple_path=True, layer=68, datatype=20))  # met1
s3__ro_stage.add(gdstk.FlexPath([(1.42,1.03),(1.42,1.2),(2.4,1.2),(2.4,4.4),(-2,4.4),(-2,3.74),(-1.83,3.74)], 0.17, ends="flush", simple_path=True, layer=68, datatype=20))  # met1
s3__ro_stage.add(gdstk.Reference(core__core_3, (0,0)))
s3__ro_stage.add(gdstk.Label('vss', (0.5,1.52), layer=68, texttype=5))
s3__ro_stage.add(gdstk.Label('vddr', (1.96,4.4), layer=68, texttype=5))

mos_array_8 = lib.new_cell('mos_array$8')
R(mos_array_8, diff, [(0,0,2.84,0.42)])
R(mos_array_8, poly, [(0.42,0,2.42,0.42), (1.21,0.42,1.63,1.24)])
R(mos_array_8, licon, [(0.1,0.1,0.32,0.32), (2.52,0.1,2.74,0.32), (1.31,0.92,1.53,1.14)])
R(mos_array_8, li1, [(0,0,0.42,0.42), (2.42,0,2.84,0.42), (1.21,0.82,1.63,1.24)])

mnt__mnt_4 = lib.new_cell('mnt__mnt$4')
mnt__mnt_4.add(gdstk.Reference(mos_array_8, (0,0)))

guard_ring_5 = lib.new_cell('guard_ring$5')
P(guard_ring_5, tap, [(0,0),(0,1.42),(0.42,1.42),(0.42,0.42),(1.42,0.42),(1.42,1.42),(0,1.42),(0,1.84),(1.84,1.84),(1.84,0)])
R(guard_ring_5, licon, [(0.643,0.1,0.863,0.32), (0.977,0.1,1.197,0.32), (0.1,0.643,0.32,0.863), (1.52,0.643,1.74,0.863), (0.1,0.977,0.32,1.197), (1.52,0.977,1.74,1.197), (0.643,1.52,0.863,1.74), (0.977,1.52,1.197,1.74)])
P(guard_ring_5, li1, [(0,0),(0,1.42),(0.42,1.42),(0.42,0.42),(1.42,0.42),(1.42,1.42),(0,1.42),(0,1.84),(1.84,1.84),(1.84,0)])

psub_tap__psub_tap_4 = lib.new_cell('psub_tap__psub_tap$4')
psub_tap__psub_tap_4.add(gdstk.Reference(guard_ring_5, (0,0)))

mos_array_1_4 = lib.new_cell('mos_array$1$4')
R(mos_array_1_4, diff, [(0,0,1.09,0.42)])
R(mos_array_1_4, poly, [(0.47,0,0.62,0.42), (0.335,0.42,0.755,1.24)])
R(mos_array_1_4, licon, [(0.1,0.1,0.32,0.32), (0.77,0.1,0.99,0.32), (0.435,0.92,0.655,1.14)])
R(mos_array_1_4, li1, [(0,0,0.42,0.42), (0.67,0,1.09,0.42), (0.335,0.82,0.755,1.24)])

mn__mn_3 = lib.new_cell('mn__mn$3')
mn__mn_3.add(gdstk.Reference(mos_array_1_4, (0,0)))

mos_array_2_4 = lib.new_cell('mos_array$2$4')
R(mos_array_2_4, nwell, [(-0.15,-0.15,2.99,1.39)])
R(mos_array_2_4, diff, [(0,0,2.84,0.42)])
R(mos_array_2_4, poly, [(0.42,0,2.42,0.42), (1.21,0.42,1.63,1.24)])
R(mos_array_2_4, licon, [(0.1,0.1,0.32,0.32), (2.52,0.1,2.74,0.32), (1.31,0.92,1.53,1.14)])
R(mos_array_2_4, li1, [(0,0,0.42,0.42), (2.42,0,2.84,0.42), (1.21,0.82,1.63,1.24)])

mph__mph_4 = lib.new_cell('mph__mph$4')
mph__mph_4.add(gdstk.Reference(mos_array_2_4, (0,0)))

guard_ring_1_4 = lib.new_cell('guard_ring$1$4')
R(guard_ring_1_4, nwell, [(-0.15,-0.15,1.99,1.99)])
P(guard_ring_1_4, tap, [(0,0),(0,1.42),(0.42,1.42),(0.42,0.42),(1.42,0.42),(1.42,1.42),(0,1.42),(0,1.84),(1.84,1.84),(1.84,0)])
R(guard_ring_1_4, licon, [(0.643,0.1,0.863,0.32), (0.977,0.1,1.197,0.32), (0.1,0.643,0.32,0.863), (1.52,0.643,1.74,0.863), (0.1,0.977,0.32,1.197), (1.52,0.977,1.74,1.197), (0.643,1.52,0.863,1.74), (0.977,1.52,1.197,1.74)])
P(guard_ring_1_4, li1, [(0,0),(0,1.42),(0.42,1.42),(0.42,0.42),(1.42,0.42),(1.42,1.42),(0,1.42),(0,1.84),(1.84,1.84),(1.84,0)])

nwell_tap__nwell_tap_4 = lib.new_cell('nwell_tap__nwell_tap$4')
nwell_tap__nwell_tap_4.add(gdstk.Reference(guard_ring_1_4, (0,0)))

mos_array_3_4 = lib.new_cell('mos_array$3$4')
R(mos_array_3_4, nwell, [(-0.15,-0.15,1.24,1.81)])
R(mos_array_3_4, diff, [(0,0,1.09,0.84)])
R(mos_array_3_4, poly, [(0.47,0,0.62,0.84), (0.335,0.84,0.755,1.66)])
R(mos_array_3_4, licon, [(0.1,0.31,0.32,0.53), (0.77,0.31,0.99,0.53), (0.435,1.34,0.655,1.56)])
R(mos_array_3_4, li1, [(0,0,0.42,0.84), (0.67,0,1.09,0.84), (0.335,1.24,0.755,1.66)])

mp__mp_3 = lib.new_cell('mp__mp$3')
mp__mp_3.add(gdstk.Reference(mos_array_3_4, (0,0)))

core__core_4 = lib.new_cell('core__core$4')
R(core__core_4, li1, [(3.575,1.03,3.995,1.2), (3.375,2.54,3.795,2.71)])
core__core_4.add(gdstk.FlexPath([(3.585,2.71),(3.585,1.87),(3.785,1.87),(3.785,1.03)], 0.17, ends="flush", simple_path=True, layer=67, datatype=20))  # li1
core__core_4.add(gdstk.FlexPath([(3.92,3.74),(4.9,3.74),(4.9,0.21),(4.12,0.21)], 0.17, ends="flush", simple_path=True, layer=67, datatype=20))  # li1
core__core_4.add(gdstk.FlexPath([(2.63,3.74),(3.25,3.74)], 0.17, ends="flush", simple_path=True, layer=67, datatype=20))  # li1
core__core_4.add(gdstk.FlexPath([(2.63,0.21),(3.45,0.21)], 0.17, ends="flush", simple_path=True, layer=67, datatype=20))  # li1
core__core_4.add(gdstk.FlexPath([(0.21,3.74),(-0.41,3.74)], 0.17, ends="flush", simple_path=True, layer=67, datatype=20))  # li1
core__core_4.add(gdstk.FlexPath([(0.21,0.21),(-0.51,0.21)], 0.17, ends="flush", simple_path=True, layer=67, datatype=20))  # li1
core__core_4.add(gdstk.Reference(mnt__mnt_4, (0,0)))
core__core_4.add(gdstk.Reference(psub_tap__psub_tap_4, (-2.14,-0.71)))
core__core_4.add(gdstk.Reference(mn__mn_3, (3.24,0)))
core__core_4.add(gdstk.Reference(mph__mph_4, (0,3.95), x_reflection=True))
core__core_4.add(gdstk.Reference(nwell_tap__nwell_tap_4, (-2.04,2.82)))
core__core_4.add(gdstk.Reference(mp__mp_3, (3.04,4.16), x_reflection=True))
core__core_4.add(gdstk.Label('a', (3.685,1.87), layer=67, texttype=5))
core__core_4.add(gdstk.Label('y', (4.9,2.075), layer=67, texttype=5))
core__core_4.add(gdstk.Label('py', (2.94,3.74), layer=67, texttype=5))
core__core_4.add(gdstk.Label('ny', (3.04,0.21), layer=67, texttype=5))
core__core_4.add(gdstk.Label('vddr', (-0.1,3.74), layer=67, texttype=5))
core__core_4.add(gdstk.Label('vss', (-0.15,0.21), layer=67, texttype=5))
core__core_4.add(gdstk.Label('vddr', (-1.83,3.74), layer=67, texttype=5))
core__core_4.add(gdstk.Label('vss', (-1.22,0.92), layer=67, texttype=5))
core__core_4.add(gdstk.Label('mph_g', (1.42,2.92), layer=67, texttype=5))
core__core_4.add(gdstk.Label('mnt_g', (1.42,1.03), layer=67, texttype=5))

s4__ro_stage = lib.new_cell('s4__ro_stage')
R(s4__ro_stage, li1, [(-1.43,0.71,-1.01,1.13), (1.21,0.82,1.63,1.24), (1.21,2.71,1.63,3.13), (-2.04,3.53,-1.62,3.95)])
R(s4__ro_stage, mcon, [(-1.33,0.81,-1.11,1.03), (1.31,0.92,1.53,1.14), (1.31,2.81,1.53,3.03), (-1.94,3.63,-1.72,3.85)])
R(s4__ro_stage, met1, [(-1.43,0.71,-1.01,1.13), (1.21,0.82,1.63,1.24), (1.21,2.71,1.63,3.13), (-2.04,3.53,-1.62,3.95)])
s4__ro_stage.add(gdstk.FlexPath([(1.42,2.92),(1.42,2.75),(0.5,2.75),(0.5,0.92),(-1.22,0.92),(-1.22,0.92)], 0.17, ends="flush", simple_path=True, layer=68, datatype=20))  # met1
s4__ro_stage.add(gdstk.FlexPath([(1.42,1.03),(1.42,1.2),(2.4,1.2),(2.4,4.4),(-2,4.4),(-2,3.74),(-1.83,3.74)], 0.17, ends="flush", simple_path=True, layer=68, datatype=20))  # met1
s4__ro_stage.add(gdstk.Reference(core__core_4, (0,0)))
s4__ro_stage.add(gdstk.Label('vss', (0.5,1.52), layer=68, texttype=5))
s4__ro_stage.add(gdstk.Label('vddr', (1.96,4.4), layer=68, texttype=5))

core = lib.new_cell('core')
A(core, li1, 12.235, 1.87, 0.42, 0.17, 4, 1, 8.175, 0)
A(core, li1, 13.45, 2.075, 0.42, 0.17, 3, 1, 8.175, 0)
R(core, li1, [(4.58,0.21,5,0.38)])
core.add(gdstk.FlexPath([(4.79,0.21),(4.79,5),(12.445,5),(12.445,1.87)], 0.17, ends="flush", simple_path=True, layer=67, datatype=20))  # li1
core.add(gdstk.FlexPath([(13.66,2.075),(13.66,5.3),(20.62,5.3),(20.62,1.87)], 0.17, ends="flush", simple_path=True, layer=67, datatype=20))  # li1
core.add(gdstk.FlexPath([(21.835,2.075),(21.835,5.6),(28.795,5.6),(28.795,1.87)], 0.17, ends="flush", simple_path=True, layer=67, datatype=20))  # li1
core.add(gdstk.FlexPath([(30.01,2.075),(30.01,5.9),(36.97,5.9),(36.97,1.87)], 0.17, ends="flush", simple_path=True, layer=67, datatype=20))  # li1
core.add(gdstk.Reference(g__ro_nand2, (0,0)))
core.add(gdstk.Reference(s1__ro_stage, (8.76,0)))
core.add(gdstk.Reference(s2__ro_stage, (16.935,0)))
core.add(gdstk.Reference(s3__ro_stage, (25.11,0)))
core.add(gdstk.Reference(s4__ro_stage, (33.285,0)))
core.add(gdstk.Label('n1', (7.787,5), layer=67, texttype=5))
core.add(gdstk.Label('n2', (17.243,5.3), layer=67, texttype=5))
core.add(gdstk.Label('n3', (25.418,5.6), layer=67, texttype=5))
core.add(gdstk.Label('n4', (33.592,5.9), layer=67, texttype=5))
core.add(gdstk.Label('en', (3.685,1.975), layer=67, texttype=5))
core.add(gdstk.Label('g_vddr', (-1.83,3.74), layer=67, texttype=5))
core.add(gdstk.Label('g_vss', (-1.22,0.92), layer=67, texttype=5))
core.add(gdstk.Label('s1_vddr', (6.93,3.74), layer=67, texttype=5))
core.add(gdstk.Label('s1_vss', (7.54,0.92), layer=67, texttype=5))
core.add(gdstk.Label('s2_vddr', (15.105,3.74), layer=67, texttype=5))
core.add(gdstk.Label('s2_vss', (15.715,0.92), layer=67, texttype=5))
core.add(gdstk.Label('s3_vddr', (23.28,3.74), layer=67, texttype=5))
core.add(gdstk.Label('s3_vss', (23.89,0.92), layer=67, texttype=5))
core.add(gdstk.Label('s4_vddr', (31.455,3.74), layer=67, texttype=5))
core.add(gdstk.Label('s4_vss', (32.065,0.92), layer=67, texttype=5))
core.add(gdstk.Label('g_a', (4.665,1.975), layer=67, texttype=5))
core.add(gdstk.Label('s4_y', (38.185,2.075), layer=67, texttype=5))

lib.write_gds('core.gds')
